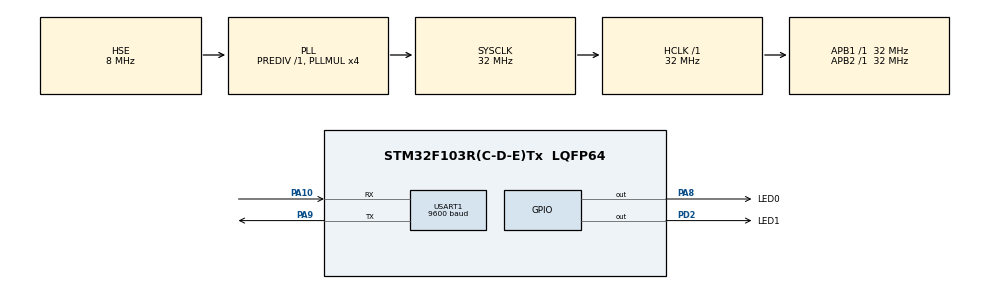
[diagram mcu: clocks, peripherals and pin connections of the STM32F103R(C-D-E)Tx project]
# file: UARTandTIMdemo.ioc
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Mcu.Family=STM32F1
Mcu.Name=STM32F103R(C-D-E)Tx
Mcu.Package=LQFP64
NVIC.PriorityGroup=NVIC_PRIORITYGROUP_4
NVIC.TIM2_IRQn=true\:0\:0\:false\:false\:true\:true\:true
NVIC.USART1_IRQn=true\:0\:0\:false\:false\:true\:true\:true
PA10.Mode=Asynchronous
PA10.Signal=USART1_RX
PA8.GPIO_Label=LED0
PA8.Signal=GPIO_Output
PA9.Mode=Asynchronous
PA9.Signal=USART1_TX
PC14-OSC32_IN.Mode=LSE-External-Oscillator
PC14-OSC32_IN.Signal=RCC_OSC32_IN
PC15-OSC32_OUT.Mode=LSE-External-Oscillator
PC15-OSC32_OUT.Signal=RCC_OSC32_OUT
PD0-OSC_IN.Mode=HSE-External-Oscillator
PD0-OSC_IN.Signal=RCC_OSC_IN
PD1-OSC_OUT.Mode=HSE-External-Oscillator
PD1-OSC_OUT.Signal=RCC_OSC_OUT
PD2.GPIO_Label=LED1
PD2.Signal=GPIO_Output
ProjectManager.HeapSize=0x200
ProjectManager.StackSize=0x400
ProjectManager.TargetToolchain=MDK-ARM V5
RCC.AHBFreq_Value=32000000
RCC.APB1Freq_Value=32000000
RCC.APB1TimFreq_Value=32000000
RCC.APB2Freq_Value=32000000
RCC.APB2TimFreq_Value=32000000
RCC.HCLKFreq_Value=32000000
RCC.PLLMUL=RCC_PLL_MUL4
RCC.PLLSourceVirtual=RCC_PLLSOURCE_HSE
RCC.SYSCLKFreq_VALUE=32000000
RCC.SYSCLKSource=RCC_SYSCLKSOURCE_PLLCLK
RCC.USBFreq_Value=32000000
TIM2.Period=499
TIM2.Prescaler=31999
USART1.BaudRate=9600
USART1.VirtualMode=VM_ASYNC
VP_SYS_VS_ND.Mode=No_Debug
VP_TIM2_VS_ClockSourceINT.Mode=Internal
board=custom

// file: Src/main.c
/* USER CODE BEGIN Header */
/**
  ******************************************************************************
  * @file           : main.c
  * @brief          : Main program body
  ******************************************************************************
  * @attention
  *
  * <h2><center>&copy; Copyright (c) 2020 STMicroelectronics.
  * All rights reserved.</center></h2>
  *
  * This software component is licensed by ST under BSD 3-Clause license,
  * the "License"; You may not use this file except in compliance with the
  * License. You may obtain a copy of the License at:
  *                        opensource.org/licenses/BSD-3-Clause
  *
  ******************************************************************************
  */
/* USER CODE END Header */

#include "main.h"
#include "tim.h"
#include "usart.h"
#include "gpio.h"

/* USER CODE BEGIN Includes */
#include "stdio.h"
#include "Mufeng_fft.h"
/* USER CODE END Includes */

/* USER CODE BEGIN PV */
  uint8_t str1[] = "=======STM32欢迎您======\r\n" ;
  uint8_t hh = 0 , mm = 0 , ss = 0 , ss05 = 0 ;
  uint8_t str_buff[64];
  uint8_t Rx_dat[16];
/* USER CODE END PV */

void SystemClock_Config(void);
/* USER CODE BEGIN PFP */
void Check_LED(){
    LED1_ON
    HAL_Delay(500);
    LED0_ON
    HAL_Delay(500);

    LED1_OFF
    HAL_Delay(500);
    LED0_OFF
    HAL_Delay(500);
  }
/* USER CODE END PFP */

/* USER CODE BEGIN 0 */
void HAL_TIM_PeriodElapsedCallback(TIM_HandleTypeDef *htim){
  LED1_TURN
  ss05++;
  if(ss05 == 2){
    ss05 = 0 ;
    ss++;
    if(ss == 60){
      mm++ ;
      ss = 0 ;
      if(mm == 60){
        mm = 0 ;
        hh ++ ;
        if(hh == 24){
          hh = 0 ;
        }
      }
    }
  }
}

void HAL_UART_RxCpltCallback(UART_HandleTypeDef *huart){
  if(huart -> Instance == USART1){
    if(Rx_dat[0] == 0xBF && Rx_dat[2] == 0xFB){
      switch(Rx_dat[1]){
        case 0xA0:
            LED0_ON
            sprintf((char *)str_buff,"%d:%d:%d LED0打开 \r\n",hh, mm, ss);
        break;
        case 0xA1:
						LED0_OFF
            sprintf((char *)str_buff,"%d:%d:%d LED0关闭 \r\n",hh, mm, ss);
        break;
        default:
          sprintf((char *)str_buff,"%d:%d:%d 这是一个错误的命令 \r\n",hh, mm, ss);
        break;
      }
      HAL_UART_Transmit(&huart1, str_buff, sizeof(str_buff), 10000);
      HAL_UART_Receive_IT(&huart1, Rx_dat, 3);
    }
  }
}
/* USER CODE END 0 */

int main(void)
{
  /* USER CODE BEGIN 1 */
  int i = 0 ;
	//aFunction();
  /* USER CODE END 1 */

  /* MCU Configuration--------------------------------------------------------*/

  /* Reset of all peripherals, Initializes the Flash interface and the Systick. */
  HAL_Init();

  /* Configure the system clock */
  SystemClock_Config();

  /* Initialize all configured peripherals */
  MX_GPIO_Init();
  MX_TIM2_Init();
  MX_USART1_UART_Init();
  /* USER CODE BEGIN 2 */
  HAL_UART_Transmit(&huart1, str1, sizeof(str1), 10000);
  HAL_UART_Receive_IT(&huart1, Rx_dat, 3);
  HAL_TIM_Base_Start_IT(&htim2);
  /* USER CODE END 2 */

  /* Infinite loop */
  /* USER CODE BEGIN WHILE */
  while (1)
  {
		//Check_LED();
    printf("ss是：%d,第%d次\r\n",ss,i);
    HAL_Delay(1000);
    i = i>500?0:i+1;
    /* USER CODE END WHILE */

  }
}

void SystemClock_Config(void)
{
  RCC_OscInitTypeDef RCC_OscInitStruct = {0};
  RCC_ClkInitTypeDef RCC_ClkInitStruct = {0};

  /** Initializes the CPU, AHB and APB busses clocks
  */
  RCC_OscInitStruct.OscillatorType = RCC_OSCILLATORTYPE_HSE;
  RCC_OscInitStruct.HSEState = RCC_HSE_ON;
  RCC_OscInitStruct.HSEPredivValue = RCC_HSE_PREDIV_DIV1;
  RCC_OscInitStruct.HSIState = RCC_HSI_ON;
  RCC_OscInitStruct.PLL.PLLState = RCC_PLL_ON;
  RCC_OscInitStruct.PLL.PLLSource = RCC_PLLSOURCE_HSE;
  RCC_OscInitStruct.PLL.PLLMUL = RCC_PLL_MUL4;
  if (HAL_RCC_OscConfig(&RCC_OscInitStruct) != HAL_OK)
  {
    Error_Handler();
  }
  /** Initializes the CPU, AHB and APB busses clocks
  */
  RCC_ClkInitStruct.ClockType = RCC_CLOCKTYPE_HCLK|RCC_CLOCKTYPE_SYSCLK
                              |RCC_CLOCKTYPE_PCLK1|RCC_CLOCKTYPE_PCLK2;
  RCC_ClkInitStruct.SYSCLKSource = RCC_SYSCLKSOURCE_PLLCLK;
  RCC_ClkInitStruct.AHBCLKDivider = RCC_SYSCLK_DIV1;
  RCC_ClkInitStruct.APB1CLKDivider = RCC_HCLK_DIV1;
  RCC_ClkInitStruct.APB2CLKDivider = RCC_HCLK_DIV1;

  if (HAL_RCC_ClockConfig(&RCC_ClkInitStruct, FLASH_LATENCY_1) != HAL_OK)
  {
    Error_Handler();
  }
}

void Error_Handler(void)
{
}

/************************ (C) COPYRIGHT STMicroelectronics *****END OF FILE****/
